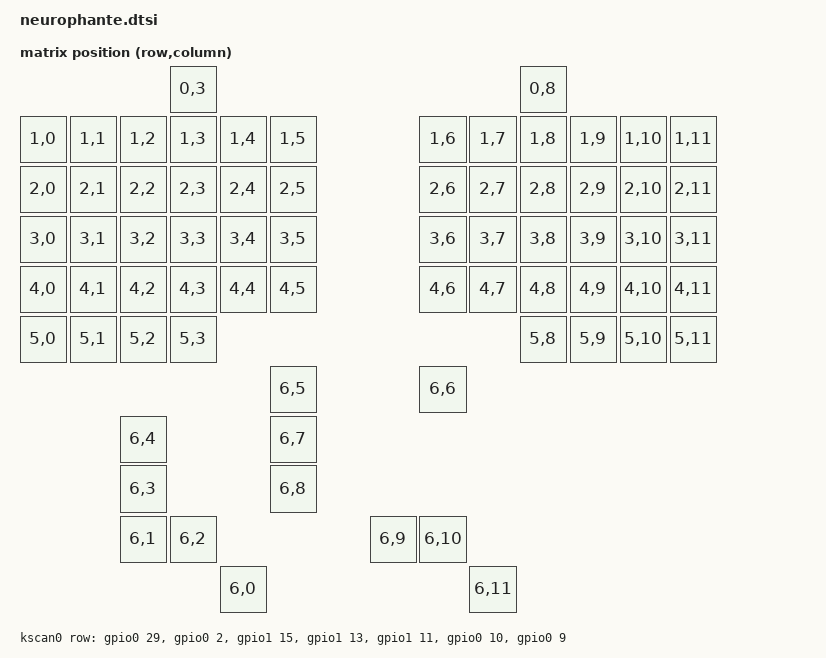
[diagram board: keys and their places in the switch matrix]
/*
 * Copyright (c) 2020 Pete Johanson
 *
 * SPDX-License-Identifier: MIT
 */

#include <dt-bindings/zmk/matrix_transform.h>

/ {
	chosen {
		zmk,kscan = &kscan0;
		zmk,matrix_transform = &default_transform;
	};

	default_transform: keymap_transform_0 {
		compatible = "zmk,matrix-transform";
		columns = <6>;
		rows = <7>;

		map = <
			            RC(0,3)                                                 RC(0,8) 
RC(1,0) RC(1,1) RC(1,2) RC(1,3) RC(1,4) RC(1,5)                 RC(1,6) RC(1,7) RC(1,8) RC(1,9) RC(1,10) RC(1,11)
RC(2,0) RC(2,1) RC(2,2) RC(2,3) RC(2,4) RC(2,5)                 RC(2,6) RC(2,7) RC(2,8) RC(2,9) RC(2,10) RC(2,11)
RC(3,0) RC(3,1) RC(3,2) RC(3,3) RC(3,4) RC(3,5)                 RC(3,6) RC(3,7) RC(3,8) RC(3,9) RC(3,10) RC(3,11)
RC(4,0) RC(4,1) RC(4,2) RC(4,3) RC(4,4) RC(4,5)                 RC(4,6) RC(4,7) RC(4,8) RC(4,9) RC(4,10) RC(4,11)
RC(5,0) RC(5,1) RC(5,2) RC(5,3)                                                 RC(5,8) RC(5,9) RC(5,10) RC(5,11)
                                        RC(6,5)                 RC(6,6)                 
					RC(6,4)                 RC(6,7)
					RC(6,3)                 RC(6,8) 
			        RC(6,1) RC(6,2)                 RC(6,9) RC(6,10) 
                                RC(6,0)                                 RC(6,11)
		>;
	};


	kscan0: kscan {
		compatible = "zmk,kscan-gpio-matrix";
		label = "KSCAN";

		diode-direction = "col2row";
		row-gpios
			= <&gpio0 29 (GPIO_ACTIVE_HIGH | GPIO_PULL_DOWN)>     //Row0
			, <&gpio0 2 (GPIO_ACTIVE_HIGH | GPIO_PULL_DOWN)>     //Row1
			, <&gpio1 15 (GPIO_ACTIVE_HIGH | GPIO_PULL_DOWN)>     //Row2
			, <&gpio1 13 (GPIO_ACTIVE_HIGH | GPIO_PULL_DOWN)>     //Row3
			, <&gpio1 11 (GPIO_ACTIVE_HIGH | GPIO_PULL_DOWN)>     //Row4
			, <&gpio0 10 (GPIO_ACTIVE_HIGH | GPIO_PULL_DOWN)>     //Row5
			, <&gpio0 9 (GPIO_ACTIVE_HIGH | GPIO_PULL_DOWN)>     //Row6
			;
		
	};
   
	// TODO: per-key RGB node(s)?
};


&usbd {
	status = "okay";
};

